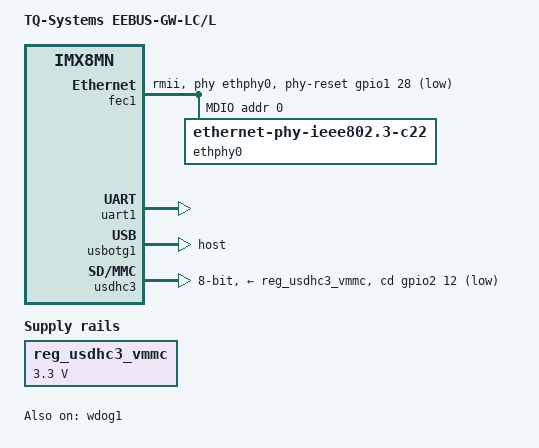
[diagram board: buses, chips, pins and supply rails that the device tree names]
// SPDX-License-Identifier: GPL-2.0-or-later
/*
 * Copyright 2022 TQ-Systems GmbH
 */

/dts-v1/;

#include "fsl-imx8mn.dtsi"

/ {
	model = "TQ-Systems EEBUS-GW-LC/L";
	compatible = "tq,egw", "fsl,imx8mn";

	aliases {
		mmc0 = &usdhc3;
		/delete-property/ mmc1;
		/delete-property/ mmc2;

		serial1 = &uart3;
		serial2 = &uart2;
	};

	chosen {
		bootargs = "console=ttymxc0,115200 earlycon=ec_imx6q,0x30860000,115200";
		stdout-path = &uart1;
	};

	reg_usdhc3_vmmc: regulator-vmmc {
		compatible = "regulator-fixed";
		regulator-name = "VSD_3V3";
		regulator-min-microvolt = <3300000>;
		regulator-max-microvolt = <3300000>;
	};

	busfreq {
		status = "disabled";
	};
};

&cpu_crit0 {
	temperature = <105000>;
};

&fec1 {
	pinctrl-names = "default";
	pinctrl-0 = <&pinctrl_fec1>, <&pinctrl_fec1mdio>;
	phy-mode = "rmii";
	phy-reset-gpios = <&gpio1 28 GPIO_ACTIVE_LOW>;
	phy-reset-duration = <500>;
	phy-reset-post-delay = <5>;
	phy-handle = <&ethphy0>;
	fsl,magic-packet;
	status = "okay";

	mdio {
		#address-cells = <1>;
		#size-cells = <0>;

		ethphy0: ethernet-phy@0 {
			compatible = "ethernet-phy-ieee802.3-c22";
			reg = <0>;
		};
	};
};

	/*
	Pad Control Register

	| 0  | 0    | 0   | 0   | 0x   | 00x |
	| PE | HYS  | PUE | ODE | FSEL | DSE |

	PE: Pull Resistors Enable
	HYS: Hysteresis Enable

	PUE:
	0 — Select pull-down resistors
	1 — Select pull-up resistors

	ODE: Open Drain Enable

	FSEL:
	0x - Select slow slew rate (SR=1)
	1x — Select fast slew rate (SR=0)

	DSE:
	00x — Drive strength X1
	10x — Drive strength X2
	01x — Drive strength X4
	11x — Drive strength X6

	GPIO: 0x80 [HYS|slow|X1] (no pull up)
	I2C: 0x400001C0 [SION|PE|HYS|PUE|slow|X1]
	UART: 0x0 [slow|X1] (no pull up)
	UDHC: 0x1D0 [PE|HYS|PUE|fast|X1]
	UDHC100: 0x1D4 [PE|HYS|PUE|fast|x2]
	UDHC200: 0x1D2 [PE|HYS|PUE|fast|x4]
	ENET_MDIO: 0x0 [slow|x1] (no pull up)
	ENET_TX: 0x0 [slow|x1] (no pull up)
	ENET_RX: 0x90 [HYS|fast|x1] (no pull up)
	ENET_GPIO: 0x10 [fast|x1] (no pull up)
	*/
#define PUE	(1 << 8)
#define HYS	(1 << 7)
#define PU	PUE | (1 << 6)
#define PD	PUE | (0 << 6)
#define ODE	(1 << 5)
#define FSLEW	(1 << 4)
#define DSE_X1	(0)
#define DSE_X2	(4)
#define DSE_X4	(2)
#define DSE_X6	(6)
#define IMX_PAD_SION 0x40000000
&iomuxc {
	pinctrl_fec1: fec1grp {
		fsl,pins = <
			MX8MN_IOMUXC_ENET_TD2__CCMSRCGPCMIX_ENET_REF_CLK_ROOT		0x10
			MX8MN_IOMUXC_ENET_TD1__ENET1_RGMII_TD1		0x0
			MX8MN_IOMUXC_ENET_TD0__ENET1_RGMII_TD0		0x0
			MX8MN_IOMUXC_ENET_RD1__ENET1_RGMII_RD1		0x90
			MX8MN_IOMUXC_ENET_RD0__ENET1_RGMII_RD0		0x90
			MX8MN_IOMUXC_ENET_RX_CTL__ENET1_RGMII_RX_CTL	0x90
			MX8MN_IOMUXC_ENET_TX_CTL__ENET1_RGMII_TX_CTL	0x0

			MX8MN_IOMUXC_ENET_RD2__GPIO1_IO28		0x10
			MX8MN_IOMUXC_ENET_RD3__GPIO1_IO29		0x10
		>;
	};

	pinctrl_fec1mdio: fec1mdiogrp {
		fsl,pins = <
			MX8MN_IOMUXC_ENET_MDC__ENET1_MDC		0x0
			MX8MN_IOMUXC_ENET_MDIO__ENET1_MDIO		0x0
		>;
	};

	pinctrl_i2c1: i2c1grp {
		fsl,pins = <
			MX8MN_IOMUXC_I2C1_SCL__I2C1_SCL		(IMX_PAD_SION | PU | HYS )
			MX8MN_IOMUXC_I2C1_SDA__I2C1_SDA		(IMX_PAD_SION | PU | HYS )
		>;
	};

	pinctrl_uart1: uart1grp {
		fsl,pins = <
			MX8MN_IOMUXC_UART1_RXD__UART1_DCE_RX	0x0
			MX8MN_IOMUXC_UART1_TXD__UART1_DCE_TX	0x0
		>;
	};

	pinctrl_usdhc3_gpio: usdhc3grpgpio {
		fsl,pins = <
			MX8MN_IOMUXC_SD2_CD_B__GPIO2_IO12	0x80
		>;
	};

	pinctrl_usdhc3: usdhc3grp {
		fsl,pins = <
			MX8MN_IOMUXC_NAND_WE_B__USDHC3_CLK		0x1d0
			MX8MN_IOMUXC_NAND_WP_B__USDHC3_CMD		0x1d0
			MX8MN_IOMUXC_NAND_DATA04__USDHC3_DATA0		0x1d0
			MX8MN_IOMUXC_NAND_DATA05__USDHC3_DATA1		0x1d0
			MX8MN_IOMUXC_NAND_DATA06__USDHC3_DATA2		0x1d0
			MX8MN_IOMUXC_NAND_DATA07__USDHC3_DATA3		0x1d0
			MX8MN_IOMUXC_NAND_RE_B__USDHC3_DATA4		0x1d0
			MX8MN_IOMUXC_NAND_CE2_B__USDHC3_DATA5		0x1d0
			MX8MN_IOMUXC_NAND_CE3_B__USDHC3_DATA6		0x1d0
			MX8MN_IOMUXC_NAND_CLE__USDHC3_DATA7		0x1d0
			MX8MN_IOMUXC_NAND_CE1_B__USDHC3_STROBE 		0x1d0
			MX8MN_IOMUXC_NAND_READY_B__USDHC3_RESET_B	0x80
		>;
	};

	pinctrl_usdhc3_100mhz: usdhc3grp100mhz {
		fsl,pins = <
			MX8MN_IOMUXC_NAND_WE_B__USDHC3_CLK		0x1d4
			MX8MN_IOMUXC_NAND_WP_B__USDHC3_CMD		0x1d4
			MX8MN_IOMUXC_NAND_DATA04__USDHC3_DATA0		0x1d4
			MX8MN_IOMUXC_NAND_DATA05__USDHC3_DATA1		0x1d4
			MX8MN_IOMUXC_NAND_DATA06__USDHC3_DATA2		0x1d4
			MX8MN_IOMUXC_NAND_DATA07__USDHC3_DATA3		0x1d4
			MX8MN_IOMUXC_NAND_RE_B__USDHC3_DATA4		0x1d4
			MX8MN_IOMUXC_NAND_CE2_B__USDHC3_DATA5		0x1d4
			MX8MN_IOMUXC_NAND_CE3_B__USDHC3_DATA6		0x1d4
			MX8MN_IOMUXC_NAND_CLE__USDHC3_DATA7		0x1d4
			MX8MN_IOMUXC_NAND_CE1_B__USDHC3_STROBE 		0x1d4
			MX8MN_IOMUXC_NAND_READY_B__USDHC3_RESET_B	0x80
		>;
	};

	pinctrl_usdhc3_200mhz: usdhc3grp200mhz {
		fsl,pins = <
			MX8MN_IOMUXC_NAND_WE_B__USDHC3_CLK		0x1d2
			MX8MN_IOMUXC_NAND_WP_B__USDHC3_CMD		0x1d2
			MX8MN_IOMUXC_NAND_DATA04__USDHC3_DATA0		0x1d2
			MX8MN_IOMUXC_NAND_DATA05__USDHC3_DATA1		0x1d2
			MX8MN_IOMUXC_NAND_DATA06__USDHC3_DATA2		0x1d2
			MX8MN_IOMUXC_NAND_DATA07__USDHC3_DATA3		0x1d2
			MX8MN_IOMUXC_NAND_RE_B__USDHC3_DATA4		0x1d2
			MX8MN_IOMUXC_NAND_CE2_B__USDHC3_DATA5		0x1d2
			MX8MN_IOMUXC_NAND_CE3_B__USDHC3_DATA6		0x1d2
			MX8MN_IOMUXC_NAND_CLE__USDHC3_DATA7		0x1d2
			MX8MN_IOMUXC_NAND_CE1_B__USDHC3_STROBE 		0x1d2
			MX8MN_IOMUXC_NAND_READY_B__USDHC3_RESET_B	0x80
		>;
	};

	pinctrl_wdog: wdoggrp {
		fsl,pins = <
			MX8MN_IOMUXC_GPIO1_IO02__WDOG1_WDOG_B		0x80
		>;
	};
};

/* console */
&uart1 {
	pinctrl-names = "default";
	pinctrl-0 = <&pinctrl_uart1>;
	status = "okay";
};

&usbotg1 {
	dr_mode = "host";
	disable-over-current;
	status = "okay";
};

&usdhc3 {
	pinctrl-names = "default", "state_100mhz", "state_200mhz";
	pinctrl-0 = <&pinctrl_usdhc3>, <&pinctrl_usdhc3_gpio>;
	pinctrl-1 = <&pinctrl_usdhc3_100mhz>, <&pinctrl_usdhc3_gpio>;
	pinctrl-2 = <&pinctrl_usdhc3_200mhz>, <&pinctrl_usdhc3_gpio>;
	bus-width = <8>;
	cd-gpios = <&gpio2 12 GPIO_ACTIVE_LOW>;
	disable-wp;
	vmmc-supply = <&reg_usdhc3_vmmc>;
	status = "okay";
};

&wdog1 {
	pinctrl-names = "default";
	pinctrl-0 = <&pinctrl_wdog>;
	status = "okay";
};
